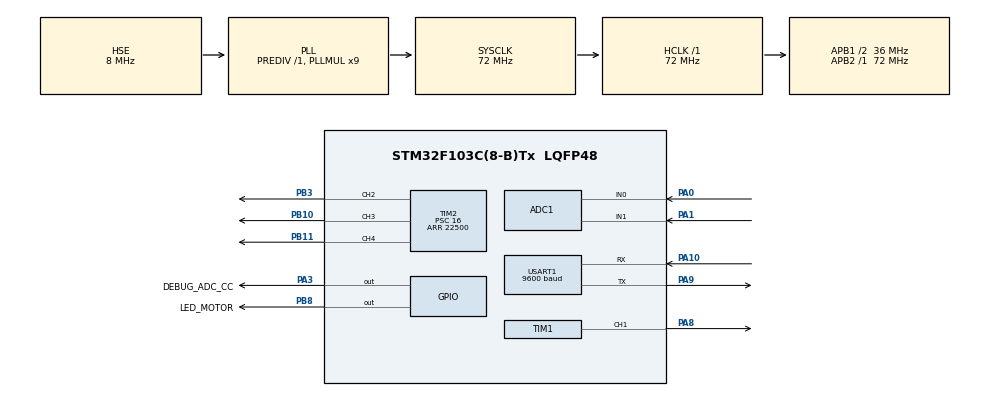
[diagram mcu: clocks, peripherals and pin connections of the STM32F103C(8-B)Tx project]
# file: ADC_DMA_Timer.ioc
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ADC1.Channel-0\#ChannelRegularConversion=ADC_CHANNEL_0
ADC1.Channel-1\#ChannelRegularConversion=ADC_CHANNEL_1
ADC1.ExternalTrigConv=ADC_EXTERNALTRIGCONV_T2_CC2
ADC1.NbrOfConversion=2
ADC1.NbrOfConversionFlag=1
ADC1.Rank-0\#ChannelRegularConversion=1
ADC1.Rank-1\#ChannelRegularConversion=2
ADC1.SamplingTime-0\#ChannelRegularConversion=ADC_SAMPLETIME_71CYCLES_5
ADC1.SamplingTime-1\#ChannelRegularConversion=ADC_SAMPLETIME_71CYCLES_5
ADC1.master=1
Dma.ADC1.0.Direction=DMA_PERIPH_TO_MEMORY
Dma.ADC1.0.Instance=DMA1_Channel1
Dma.ADC1.0.MemDataAlignment=DMA_MDATAALIGN_WORD
Dma.ADC1.0.MemInc=DMA_MINC_ENABLE
Dma.ADC1.0.Mode=DMA_CIRCULAR
Dma.ADC1.0.PeriphDataAlignment=DMA_PDATAALIGN_WORD
Dma.ADC1.0.PeriphInc=DMA_PINC_DISABLE
Dma.ADC1.0.Priority=DMA_PRIORITY_HIGH
Dma.Request0=ADC1
Dma.Request1=USART1_RX
Dma.Request2=USART1_TX
Dma.USART1_RX.1.Direction=DMA_PERIPH_TO_MEMORY
Dma.USART1_RX.1.Instance=DMA1_Channel5
Dma.USART1_RX.1.MemDataAlignment=DMA_MDATAALIGN_BYTE
Dma.USART1_RX.1.MemInc=DMA_MINC_ENABLE
Dma.USART1_RX.1.Mode=DMA_NORMAL
Dma.USART1_RX.1.PeriphDataAlignment=DMA_PDATAALIGN_BYTE
Dma.USART1_RX.1.PeriphInc=DMA_PINC_DISABLE
Dma.USART1_RX.1.Priority=DMA_PRIORITY_HIGH
Dma.USART1_TX.2.Direction=DMA_MEMORY_TO_PERIPH
Dma.USART1_TX.2.Instance=DMA1_Channel4
Dma.USART1_TX.2.MemDataAlignment=DMA_MDATAALIGN_BYTE
Dma.USART1_TX.2.MemInc=DMA_MINC_ENABLE
Dma.USART1_TX.2.Mode=DMA_CIRCULAR
Dma.USART1_TX.2.PeriphDataAlignment=DMA_PDATAALIGN_BYTE
Dma.USART1_TX.2.PeriphInc=DMA_PINC_DISABLE
Dma.USART1_TX.2.Priority=DMA_PRIORITY_HIGH
Mcu.Family=STM32F1
Mcu.Name=STM32F103C(8-B)Tx
Mcu.Package=LQFP48
NVIC.ADC1_2_IRQn=true\:0\:0\:false\:false\:true\:true\:true
NVIC.DMA1_Channel1_IRQn=true\:0\:0\:false\:false\:true\:false\:true
NVIC.DMA1_Channel4_IRQn=true\:0\:0\:false\:false\:true\:false\:true
NVIC.DMA1_Channel5_IRQn=true\:0\:0\:false\:false\:true\:false\:true
NVIC.PriorityGroup=NVIC_PRIORITYGROUP_4
NVIC.TIM2_IRQn=true\:0\:0\:false\:false\:true\:true\:true
NVIC.USART1_IRQn=true\:0\:0\:false\:false\:true\:true\:true
PA0-WKUP.Signal=ADCx_IN0
PA1.Signal=ADCx_IN1
PA10.Mode=Asynchronous
PA10.Signal=USART1_RX
PA13.Mode=Serial_Wire
PA13.Signal=SYS_JTMS-SWDIO
PA14.Mode=Serial_Wire
PA14.Signal=SYS_JTCK-SWCLK
PA3.GPIO_Label=DEBUG_ADC_CC
PA3.GPIO_Speed=GPIO_SPEED_FREQ_HIGH
PA3.Signal=GPIO_Output
PA8.Signal=S_TIM1_CH1
PA9.Mode=Asynchronous
PA9.Signal=USART1_TX
PB10.Signal=S_TIM2_CH3
PB11.Signal=S_TIM2_CH4
PB3.Signal=S_TIM2_CH2
PB8.GPIO_Label=LED_MOTOR
PB8.GPIO_Speed=GPIO_SPEED_FREQ_HIGH
PB8.Signal=GPIO_Output
PD0-OSC_IN.Mode=HSE-External-Oscillator
PD0-OSC_IN.Signal=RCC_OSC_IN
PD1-OSC_OUT.Mode=HSE-External-Oscillator
PD1-OSC_OUT.Signal=RCC_OSC_OUT
ProjectManager.HeapSize=0x200
ProjectManager.StackSize=0x400
ProjectManager.TargetToolchain=TrueSTUDIO
RCC.ADCPresc=RCC_ADCPCLK2_DIV6
RCC.AHBFreq_Value=72000000
RCC.APB1CLKDivider=RCC_HCLK_DIV2
RCC.APB1Freq_Value=36000000
RCC.APB1TimFreq_Value=72000000
RCC.APB2Freq_Value=72000000
RCC.APB2TimFreq_Value=72000000
RCC.HCLKFreq_Value=72000000
RCC.PLLMUL=RCC_PLL_MUL9
RCC.PLLSourceVirtual=RCC_PLLSOURCE_HSE
RCC.SYSCLKFreq_VALUE=72000000
RCC.SYSCLKSource=RCC_SYSCLKSOURCE_PLLCLK
RCC.USBFreq_Value=72000000
SH.ADCx_IN0.0=ADC1_IN0,IN0
SH.ADCx_IN1.0=ADC1_IN1,IN1
SH.S_TIM1_CH1.0=TIM1_CH1,PWM Generation1 CH1
SH.S_TIM2_CH2.0=TIM2_CH2,Output Compare2 CH2
SH.S_TIM2_CH3.0=TIM2_CH3,PWM Generation3 CH3
SH.S_TIM2_CH4.0=TIM2_CH4,PWM Generation4 CH4
TIM1.Channel-PWM\ Generation1\ CH1=TIM_CHANNEL_1
TIM1.Period=200
TIM1.Prescaler=24
TIM2.Channel-Output\ Compare2\ CH2=TIM_CHANNEL_2
TIM2.Channel-PWM\ Generation3\ CH3=TIM_CHANNEL_3
TIM2.Channel-PWM\ Generation4\ CH4=TIM_CHANNEL_4
TIM2.OCFastMode_PWM-PWM\ Generation3\ CH3=TIM_OCFAST_ENABLE
TIM2.OCFastMode_PWM-PWM\ Generation4\ CH4=TIM_OCFAST_ENABLE
TIM2.OCMode_2=TIM_OCMODE_TOGGLE
TIM2.OCPolarity_3=TIM_OCPOLARITY_LOW
TIM2.Period=22500
TIM2.Prescaler=16
USART1.BaudRate=9600
USART1.VirtualMode=VM_ASYNC
VP_TIM1_VS_ClockSourceINT.Mode=Internal
VP_TIM2_VS_ClockSourceINT.Mode=Internal
board=custom

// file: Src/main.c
/* USER CODE BEGIN Header */
/**
  ******************************************************************************
  * @file           : main.c
  * @brief          : Main program body
  ******************************************************************************
  ** This notice applies to any and all portions of this file
  * that are not between comment pairs USER CODE BEGIN and
  * USER CODE END. Other portions of this file, whether
  * inserted by the user or by software development tools
  * are owned by their respective copyright owners.
  *
  * COPYRIGHT(c) 2019 STMicroelectronics
  *
  * Redistribution and use in source and binary forms, with or without modification,
  * are permitted provided that the following conditions are met:
  *   1. Redistributions of source code must retain the above copyright notice,
  *      this list of conditions and the following disclaimer.
  *   2. Redistributions in binary form must reproduce the above copyright notice,
  *      this list of conditions and the following disclaimer in the documentation
  *      and/or other materials provided with the distribution.
  *   3. Neither the name of STMicroelectronics nor the names of its contributors
  *      may be used to endorse or promote products derived from this software
  *      without specific prior written permission.
  *
  * THIS SOFTWARE IS PROVIDED BY THE COPYRIGHT HOLDERS AND CONTRIBUTORS "AS IS"
  * AND ANY EXPRESS OR IMPLIED WARRANTIES, INCLUDING, BUT NOT LIMITED TO, THE
  * IMPLIED WARRANTIES OF MERCHANTABILITY AND FITNESS FOR A PARTICULAR PURPOSE ARE
  * DISCLAIMED. IN NO EVENT SHALL THE COPYRIGHT HOLDER OR CONTRIBUTORS BE LIABLE
  * FOR ANY DIRECT, INDIRECT, INCIDENTAL, SPECIAL, EXEMPLARY, OR CONSEQUENTIAL
  * DAMAGES (INCLUDING, BUT NOT LIMITED TO, PROCUREMENT OF SUBSTITUTE GOODS OR
  * SERVICES; LOSS OF USE, DATA, OR PROFITS; OR BUSINESS INTERRUPTION) HOWEVER
  * CAUSED AND ON ANY THEORY OF LIABILITY, WHETHER IN CONTRACT, STRICT LIABILITY,
  * OR TORT (INCLUDING NEGLIGENCE OR OTHERWISE) ARISING IN ANY WAY OUT OF THE USE
  * OF THIS SOFTWARE, EVEN IF ADVISED OF THE POSSIBILITY OF SUCH DAMAGE.
  *
  ******************************************************************************
  */
/* USER CODE END Header */

#include "main.h"

/* USER CODE BEGIN Includes */
#include <string.h>
#include <stdio.h>
#include "modbus.h"
#include "IrrigationSystem.h"
/* USER CODE END Includes */

/* USER CODE BEGIN PTD */
//char txDmaBuffer[100];

/* USER CODE END PTD */

ADC_HandleTypeDef hadc1;
DMA_HandleTypeDef hdma_adc1;

TIM_HandleTypeDef htim1;
TIM_HandleTypeDef htim2;

UART_HandleTypeDef huart1;
DMA_HandleTypeDef hdma_usart1_rx;
DMA_HandleTypeDef hdma_usart1_tx;

void SystemClock_Config(void);
static void MX_GPIO_Init(void);
static void MX_DMA_Init(void);
static void MX_ADC1_Init(void);
static void MX_USART1_UART_Init(void);
static void MX_TIM1_Init(void);
static void MX_TIM2_Init(void);

int main(void)
{
  /* USER CODE BEGIN 1 */
  package_t pkg;
  IrrigationSystem_t IS;
  /* USER CODE END 1 */

  /* MCU Configuration--------------------------------------------------------*/

  /* Reset of all peripherals, Initializes the Flash interface and the Systick. */
  HAL_Init();

  /* Configure the system clock */
  SystemClock_Config();

  /* Initialize all configured peripherals */
  MX_GPIO_Init();
  MX_DMA_Init();
  MX_ADC1_Init();
  MX_USART1_UART_Init();
  MX_TIM1_Init();
  MX_TIM2_Init();
  /* USER CODE BEGIN 2 */

  IrrigationSystem_init();
  Turn_Off_Motor();
  volatile uint16_t min_humidity = 0;
  /* USER CODE END 2 */

  /* Infinite loop */
  /* USER CODE BEGIN WHILE */
  while (1)
    {
	  min_humidity = RTU_Read_package_IrrigationSystem(&pkg, &huart1, &IS);
	  if(min_humidity < 10){
		  min_humidity = 10;
	  }
	  RTU_package_IrrigationSystem(&pkg, &IS, &huart1);
	  Verify_Humidity(&IS, min_humidity);
	  RTU_package_IrrigationSystem(&pkg, &IS, &huart1);
	  HAL_Delay(2000);
    /* USER CODE END WHILE */

    }
}

void SystemClock_Config(void)
{
  RCC_OscInitTypeDef RCC_OscInitStruct = {0};
  RCC_ClkInitTypeDef RCC_ClkInitStruct = {0};
  RCC_PeriphCLKInitTypeDef PeriphClkInit = {0};

  /** Initializes the CPU, AHB and APB busses clocks
  */
  RCC_OscInitStruct.OscillatorType = RCC_OSCILLATORTYPE_HSE;
  RCC_OscInitStruct.HSEState = RCC_HSE_ON;
  RCC_OscInitStruct.HSEPredivValue = RCC_HSE_PREDIV_DIV1;
  RCC_OscInitStruct.HSIState = RCC_HSI_ON;
  RCC_OscInitStruct.PLL.PLLState = RCC_PLL_ON;
  RCC_OscInitStruct.PLL.PLLSource = RCC_PLLSOURCE_HSE;
  RCC_OscInitStruct.PLL.PLLMUL = RCC_PLL_MUL9;
  if (HAL_RCC_OscConfig(&RCC_OscInitStruct) != HAL_OK)
  {
    Error_Handler();
  }
  /** Initializes the CPU, AHB and APB busses clocks
  */
  RCC_ClkInitStruct.ClockType = RCC_CLOCKTYPE_HCLK|RCC_CLOCKTYPE_SYSCLK
                              |RCC_CLOCKTYPE_PCLK1|RCC_CLOCKTYPE_PCLK2;
  RCC_ClkInitStruct.SYSCLKSource = RCC_SYSCLKSOURCE_PLLCLK;
  RCC_ClkInitStruct.AHBCLKDivider = RCC_SYSCLK_DIV1;
  RCC_ClkInitStruct.APB1CLKDivider = RCC_HCLK_DIV2;
  RCC_ClkInitStruct.APB2CLKDivider = RCC_HCLK_DIV1;

  if (HAL_RCC_ClockConfig(&RCC_ClkInitStruct, FLASH_LATENCY_2) != HAL_OK)
  {
    Error_Handler();
  }
  PeriphClkInit.PeriphClockSelection = RCC_PERIPHCLK_ADC;
  PeriphClkInit.AdcClockSelection = RCC_ADCPCLK2_DIV6;
  if (HAL_RCCEx_PeriphCLKConfig(&PeriphClkInit) != HAL_OK)
  {
    Error_Handler();
  }
}

static void MX_ADC1_Init(void)
{

  ADC_ChannelConfTypeDef sConfig = {0};

  /** Common config
  */
  hadc1.Instance = ADC1;
  hadc1.Init.ScanConvMode = ADC_SCAN_ENABLE;
  hadc1.Init.ContinuousConvMode = DISABLE;
  hadc1.Init.DiscontinuousConvMode = DISABLE;
  hadc1.Init.ExternalTrigConv = ADC_EXTERNALTRIGCONV_T2_CC2;
  hadc1.Init.DataAlign = ADC_DATAALIGN_RIGHT;
  hadc1.Init.NbrOfConversion = 2;
  if (HAL_ADC_Init(&hadc1) != HAL_OK)
  {
    Error_Handler();
  }
  /** Configure Regular Channel
  */
  sConfig.Channel = ADC_CHANNEL_0;
  sConfig.Rank = ADC_REGULAR_RANK_1;
  sConfig.SamplingTime = ADC_SAMPLETIME_71CYCLES_5;
  if (HAL_ADC_ConfigChannel(&hadc1, &sConfig) != HAL_OK)
  {
    Error_Handler();
  }
  /** Configure Regular Channel
  */
  sConfig.Channel = ADC_CHANNEL_1;
  sConfig.Rank = ADC_REGULAR_RANK_2;
  if (HAL_ADC_ConfigChannel(&hadc1, &sConfig) != HAL_OK)
  {
    Error_Handler();
  }

}

static void MX_TIM1_Init(void)
{

  TIM_ClockConfigTypeDef sClockSourceConfig = {0};
  TIM_MasterConfigTypeDef sMasterConfig = {0};
  TIM_OC_InitTypeDef sConfigOC = {0};
  TIM_BreakDeadTimeConfigTypeDef sBreakDeadTimeConfig = {0};

  htim1.Instance = TIM1;
  htim1.Init.Prescaler = 24;
  htim1.Init.CounterMode = TIM_COUNTERMODE_UP;
  htim1.Init.Period = 200;
  htim1.Init.ClockDivision = TIM_CLOCKDIVISION_DIV1;
  htim1.Init.RepetitionCounter = 0;
  htim1.Init.AutoReloadPreload = TIM_AUTORELOAD_PRELOAD_DISABLE;
  if (HAL_TIM_Base_Init(&htim1) != HAL_OK)
  {
    Error_Handler();
  }
  sClockSourceConfig.ClockSource = TIM_CLOCKSOURCE_INTERNAL;
  if (HAL_TIM_ConfigClockSource(&htim1, &sClockSourceConfig) != HAL_OK)
  {
    Error_Handler();
  }
  if (HAL_TIM_PWM_Init(&htim1) != HAL_OK)
  {
    Error_Handler();
  }
  sMasterConfig.MasterOutputTrigger = TIM_TRGO_RESET;
  sMasterConfig.MasterSlaveMode = TIM_MASTERSLAVEMODE_DISABLE;
  if (HAL_TIMEx_MasterConfigSynchronization(&htim1, &sMasterConfig) != HAL_OK)
  {
    Error_Handler();
  }
  sConfigOC.OCMode = TIM_OCMODE_PWM1;
  sConfigOC.Pulse = 0;
  sConfigOC.OCPolarity = TIM_OCPOLARITY_HIGH;
  sConfigOC.OCNPolarity = TIM_OCNPOLARITY_HIGH;
  sConfigOC.OCFastMode = TIM_OCFAST_DISABLE;
  sConfigOC.OCIdleState = TIM_OCIDLESTATE_RESET;
  sConfigOC.OCNIdleState = TIM_OCNIDLESTATE_RESET;
  if (HAL_TIM_PWM_ConfigChannel(&htim1, &sConfigOC, TIM_CHANNEL_1) != HAL_OK)
  {
    Error_Handler();
  }
  sBreakDeadTimeConfig.OffStateRunMode = TIM_OSSR_DISABLE;
  sBreakDeadTimeConfig.OffStateIDLEMode = TIM_OSSI_DISABLE;
  sBreakDeadTimeConfig.LockLevel = TIM_LOCKLEVEL_OFF;
  sBreakDeadTimeConfig.DeadTime = 0;
  sBreakDeadTimeConfig.BreakState = TIM_BREAK_DISABLE;
  sBreakDeadTimeConfig.BreakPolarity = TIM_BREAKPOLARITY_HIGH;
  sBreakDeadTimeConfig.AutomaticOutput = TIM_AUTOMATICOUTPUT_DISABLE;
  if (HAL_TIMEx_ConfigBreakDeadTime(&htim1, &sBreakDeadTimeConfig) != HAL_OK)
  {
    Error_Handler();
  }
  HAL_TIM_MspPostInit(&htim1);

}

static void MX_TIM2_Init(void)
{

  TIM_ClockConfigTypeDef sClockSourceConfig = {0};
  TIM_MasterConfigTypeDef sMasterConfig = {0};
  TIM_OC_InitTypeDef sConfigOC = {0};

  htim2.Instance = TIM2;
  htim2.Init.Prescaler = 16;
  htim2.Init.CounterMode = TIM_COUNTERMODE_UP;
  htim2.Init.Period = 22500;
  htim2.Init.ClockDivision = TIM_CLOCKDIVISION_DIV1;
  htim2.Init.AutoReloadPreload = TIM_AUTORELOAD_PRELOAD_DISABLE;
  if (HAL_TIM_Base_Init(&htim2) != HAL_OK)
  {
    Error_Handler();
  }
  sClockSourceConfig.ClockSource = TIM_CLOCKSOURCE_INTERNAL;
  if (HAL_TIM_ConfigClockSource(&htim2, &sClockSourceConfig) != HAL_OK)
  {
    Error_Handler();
  }
  if (HAL_TIM_OC_Init(&htim2) != HAL_OK)
  {
    Error_Handler();
  }
  if (HAL_TIM_PWM_Init(&htim2) != HAL_OK)
  {
    Error_Handler();
  }
  sMasterConfig.MasterOutputTrigger = TIM_TRGO_RESET;
  sMasterConfig.MasterSlaveMode = TIM_MASTERSLAVEMODE_DISABLE;
  if (HAL_TIMEx_MasterConfigSynchronization(&htim2, &sMasterConfig) != HAL_OK)
  {
    Error_Handler();
  }
  sConfigOC.OCMode = TIM_OCMODE_TOGGLE;
  sConfigOC.Pulse = 0;
  sConfigOC.OCPolarity = TIM_OCPOLARITY_HIGH;
  sConfigOC.OCFastMode = TIM_OCFAST_DISABLE;
  if (HAL_TIM_OC_ConfigChannel(&htim2, &sConfigOC, TIM_CHANNEL_2) != HAL_OK)
  {
    Error_Handler();
  }
  sConfigOC.OCMode = TIM_OCMODE_PWM1;
  sConfigOC.OCPolarity = TIM_OCPOLARITY_LOW;
  sConfigOC.OCFastMode = TIM_OCFAST_ENABLE;
  if (HAL_TIM_PWM_ConfigChannel(&htim2, &sConfigOC, TIM_CHANNEL_3) != HAL_OK)
  {
    Error_Handler();
  }
  sConfigOC.OCPolarity = TIM_OCPOLARITY_HIGH;
  if (HAL_TIM_PWM_ConfigChannel(&htim2, &sConfigOC, TIM_CHANNEL_4) != HAL_OK)
  {
    Error_Handler();
  }
  HAL_TIM_MspPostInit(&htim2);

}

static void MX_USART1_UART_Init(void)
{

  huart1.Instance = USART1;
  huart1.Init.BaudRate = 9600;
  huart1.Init.WordLength = UART_WORDLENGTH_8B;
  huart1.Init.StopBits = UART_STOPBITS_1;
  huart1.Init.Parity = UART_PARITY_NONE;
  huart1.Init.Mode = UART_MODE_TX_RX;
  huart1.Init.HwFlowCtl = UART_HWCONTROL_NONE;
  huart1.Init.OverSampling = UART_OVERSAMPLING_16;
  if (HAL_UART_Init(&huart1) != HAL_OK)
  {
    Error_Handler();
  }

}

static void MX_DMA_Init(void)
{
  /* DMA controller clock enable */
  __HAL_RCC_DMA1_CLK_ENABLE();

  /* DMA interrupt init */
  /* DMA1_Channel1_IRQn interrupt configuration */
  HAL_NVIC_SetPriority(DMA1_Channel1_IRQn, 0, 0);
  HAL_NVIC_EnableIRQ(DMA1_Channel1_IRQn);
  /* DMA1_Channel4_IRQn interrupt configuration */
  HAL_NVIC_SetPriority(DMA1_Channel4_IRQn, 0, 0);
  HAL_NVIC_EnableIRQ(DMA1_Channel4_IRQn);
  /* DMA1_Channel5_IRQn interrupt configuration */
  HAL_NVIC_SetPriority(DMA1_Channel5_IRQn, 0, 0);
  HAL_NVIC_EnableIRQ(DMA1_Channel5_IRQn);

}

static void MX_GPIO_Init(void)
{
  GPIO_InitTypeDef GPIO_InitStruct = {0};

  /* GPIO Ports Clock Enable */
  __HAL_RCC_GPIOD_CLK_ENABLE();
  __HAL_RCC_GPIOA_CLK_ENABLE();
  __HAL_RCC_GPIOB_CLK_ENABLE();

  /*Configure GPIO pin Output Level */
  HAL_GPIO_WritePin(DEBUG_ADC_CC_GPIO_Port, DEBUG_ADC_CC_Pin, GPIO_PIN_RESET);

  /*Configure GPIO pin Output Level */
  HAL_GPIO_WritePin(LED_MOTOR_GPIO_Port, LED_MOTOR_Pin, GPIO_PIN_RESET);

  /*Configure GPIO pin : DEBUG_ADC_CC_Pin */
  GPIO_InitStruct.Pin = DEBUG_ADC_CC_Pin;
  GPIO_InitStruct.Mode = GPIO_MODE_OUTPUT_PP;
  GPIO_InitStruct.Pull = GPIO_NOPULL;
  GPIO_InitStruct.Speed = GPIO_SPEED_FREQ_HIGH;
  HAL_GPIO_Init(DEBUG_ADC_CC_GPIO_Port, &GPIO_InitStruct);

  /*Configure GPIO pin : LED_MOTOR_Pin */
  GPIO_InitStruct.Pin = LED_MOTOR_Pin;
  GPIO_InitStruct.Mode = GPIO_MODE_OUTPUT_PP;
  GPIO_InitStruct.Pull = GPIO_NOPULL;
  GPIO_InitStruct.Speed = GPIO_SPEED_FREQ_HIGH;
  HAL_GPIO_Init(LED_MOTOR_GPIO_Port, &GPIO_InitStruct);

}

/* USER CODE BEGIN 4 */
void HAL_TIM_PeriodElapsedCallback(TIM_HandleTypeDef *htim)
{

}

/* USER CODE END 4 */

void Error_Handler(void)
{
	while(1)
	{
	}
}

/************************ (C) COPYRIGHT STMicroelectronics *****END OF FILE****/
